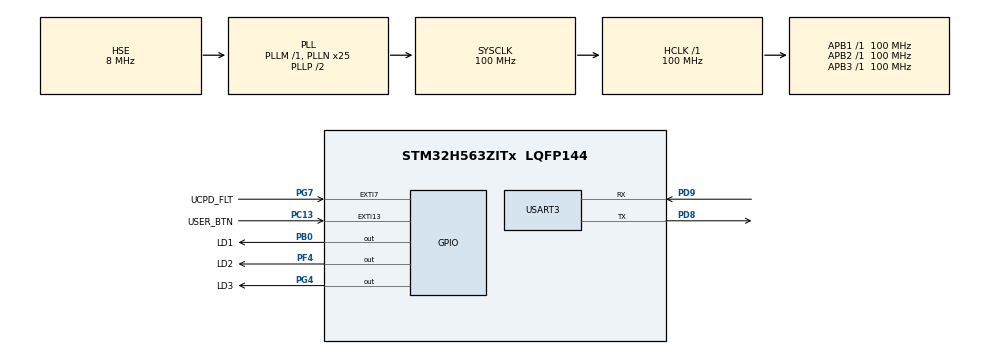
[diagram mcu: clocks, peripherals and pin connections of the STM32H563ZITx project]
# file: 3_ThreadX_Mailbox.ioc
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BOOTPATH.BootPathName=LEGACY
BOOTPATH.UserSelectedBootPath=LEGACY
CORTEX_M33_NS.userName=CORTEX_M33
DTS.Divider=100
DTS.SamplingTime=DTS_SMP_TIME_10_CYCLE
Mcu.Family=STM32H5
Mcu.Name=STM32H563ZITx
Mcu.Package=LQFP144
NVIC.EXTI13_IRQn=true\:0\:0\:false\:false\:true\:false\:true\:true\:true
NVIC.PriorityGroup=NVIC_PRIORITYGROUP_4
NVIC.TIM6_IRQn=true\:15\:0\:false\:false\:true\:false\:false\:true\:true
NVIC.TimeBase=TIM6_IRQn
NVIC.TimeBaseIP=TIM6
PA1.GPIO_Label=RMII_REF_CLK
PA1.GPIO_Mode=GPIO_MODE_AF_PP
PA1.GPIO_PuPd=GPIO_NOPULL
PA1.GPIO_Speed=GPIO_SPEED_FREQ_LOW
PA1.Signal=ETH_REF_CLK
PA11.GPIO_Label=USB_FS_N
PA11.Signal=USB_DM
PA12.GPIO_Label=USB_FS_P
PA12.Signal=USB_DP
PA13(JTMS/SWDIO).GPIO_Label=SWDIO
PA13(JTMS/SWDIO).Signal=DEBUG_JTMS-SWDIO
PA14(JTCK/SWCLK).GPIO_Label=SWCLK
PA14(JTCK/SWCLK).Signal=DEBUG_JTCK-SWCLK
PA15(JTDI).GPIO_Label=T_JTDI
PA15(JTDI).Signal=DEBUG_JTDI
PA2.GPIO_Label=RMII_MDIO
PA2.GPIO_Mode=GPIO_MODE_AF_PP
PA2.GPIO_PuPd=GPIO_NOPULL
PA2.GPIO_Speed=GPIO_SPEED_FREQ_LOW
PA2.Signal=ETH_MDIO
PA4.GPIO_Label=VBUS_SENSE
PA4.Signal=ADCx_INP18
PA7.GPIO_Label=RMII_CRS_DV
PA7.GPIO_Mode=GPIO_MODE_AF_PP
PA7.GPIO_PuPd=GPIO_NOPULL
PA7.GPIO_Speed=GPIO_SPEED_FREQ_LOW
PA7.Signal=ETH_CRS_DV
PA9.GPIO_Label=UCDP_DBn
PA9.Signal=UCPD1_DB1
PB0.GPIO_Label=LD1
PB0.Signal=GPIO_Output
PB13.GPIO_Label=UCPD_CC1
PB13.Signal=UCPD1_CC1
PB14.GPIO_Label=UCPD_CC2
PB14.Signal=UCPD1_CC2
PB15.GPIO_Label=RMII_TXD1
PB15.GPIO_Mode=GPIO_MODE_AF_PP
PB15.GPIO_PuPd=GPIO_NOPULL
PB15.GPIO_Speed=GPIO_SPEED_FREQ_LOW
PB15.Signal=ETH_TXD1
PB3(JTDO/TRACESWO).GPIO_Label=SWO
PB3(JTDO/TRACESWO).Signal=DEBUG_JTDO-SWO
PB6.GPIO_Label=ARD_D1_TX
PB6.Signal=LPUART1_TX
PB7.GPIO_Label=ARD_D0_RX
PB7.Signal=LPUART1_RX
PC1.GPIO_Label=RMII_MDC
PC1.GPIO_Mode=GPIO_MODE_AF_PP
PC1.GPIO_PuPd=GPIO_NOPULL
PC1.GPIO_Speed=GPIO_SPEED_FREQ_LOW
PC1.Signal=ETH_MDC
PC13.GPIO_Label=USER_BTN
PC13.Signal=GPXTI13
PC14-OSC32_IN(OSC32_IN).Mode=LSE-External-Oscillator
PC14-OSC32_IN(OSC32_IN).Signal=RCC_OSC32_IN
PC15-OSC32_OUT(OSC32_OUT).Mode=LSE-External-Oscillator
PC15-OSC32_OUT(OSC32_OUT).Signal=RCC_OSC32_OUT
PC4.GPIO_Label=RMII_RXD0
PC4.GPIO_Mode=GPIO_MODE_AF_PP
PC4.GPIO_PuPd=GPIO_NOPULL
PC4.GPIO_Speed=GPIO_SPEED_FREQ_LOW
PC4.Signal=ETH_RXD0
PC5.GPIO_Label=RMII_RXD1
PC5.GPIO_Mode=GPIO_MODE_AF_PP
PC5.GPIO_PuPd=GPIO_NOPULL
PC5.GPIO_Speed=GPIO_SPEED_FREQ_LOW
PC5.Signal=ETH_RXD1
PD8.Mode=Asynchronous
PD8.Signal=USART3_TX
PD9.Mode=Asynchronous
PD9.Signal=USART3_RX
PE2.GPIO_Label=TRACE_CK
PE2.Signal=DEBUG_TRACECLK
PE3.GPIO_Label=TRACE_D0
PE3.Signal=DEBUG_TRACED0
PE4.GPIO_Label=TRACE_D1
PE4.Signal=DEBUG_TRACED1
PE5.GPIO_Label=TRACE_D2
PE5.Signal=DEBUG_TRACED2
PE6.GPIO_Label=TRACE_D3
PE6.Signal=DEBUG_TRACED3
PF4.GPIO_Label=LD2
PF4.Signal=GPIO_Output
PG11.GPIO_Label=RMII_TXT_EN
PG11.GPIO_Mode=GPIO_MODE_AF_PP
PG11.GPIO_PuPd=GPIO_NOPULL
PG11.GPIO_Speed=GPIO_SPEED_FREQ_LOW
PG11.Signal=ETH_TX_EN
PG13.GPIO_Label=RMI_TXD0
PG13.GPIO_Mode=GPIO_MODE_AF_PP
PG13.GPIO_PuPd=GPIO_NOPULL
PG13.GPIO_Speed=GPIO_SPEED_FREQ_LOW
PG13.Signal=ETH_TXD0
PG4.GPIO_Label=LD3
PG4.Signal=GPIO_Output
PG7.GPIO_Label=UCPD_FLT
PG7.Signal=GPXTI7
PH0-OSC_IN(PH0).GPIO_Label=STLK_MCO
PH0-OSC_IN(PH0).Mode=HSE-External-Clock-Source
PH0-OSC_IN(PH0).Signal=RCC_OSC_IN
ProjectManager.HeapSize=0x200
ProjectManager.StackSize=0x400
ProjectManager.TargetToolchain=STM32CubeIDE
RCC.ADCCLockSelection=RCC_ADCDACCLKSOURCE_HSI
RCC.ADCFreq_Value=32000000
RCC.AHBFreq_Value=100000000
RCC.APB1Freq_Value=100000000
RCC.APB1TimFreq_Value=100000000
RCC.APB2Freq_Value=100000000
RCC.APB2TimFreq_Value=100000000
RCC.APB3Freq_Value=100000000
RCC.CSI_VALUE=4000000
RCC.CortexFreq_Value=100000000
RCC.EPOD_VALUE=8000000
RCC.HCLKFreq_Value=100000000
RCC.HSE_VALUE=8000000
RCC.HSI48_VALUE=48000000
RCC.HSI_VALUE=64000000
RCC.LSIRC_VALUE=32000
RCC.PLLFRACN=0
RCC.PLLN=25
RCC.PLLSourceVirtual=RCC_PLL1_SOURCE_HSE
RCC.SYSCLKFreq_VALUE=100000000
RCC.SYSCLKSource=RCC_SYSCLKSOURCE_PLLCLK
RCC.USBFreq_Value=48000000
RCC.VCOOutputFreq_Value=200000000
SH.ADCx_INP18.0=ADC1_INP18
USART3.VirtualMode=VM_ASYNC
VP_BOOTPATH_VS_BOOTPATH.Mode=BP_Activate
VP_CORTEX_M33_NS_VS_Hclk.Mode=Hclk_Mode
VP_DTS_VS-DTS.Mode=DTS
VP_ICACHE_VS_ICACHE.Mode=DirectMappedCache
VP_MEMORYMAP_VS_MEMORYMAP.Mode=CurAppReg
VP_PWR_VS_DBSignals.Mode=DisableDeadBatterySignals
VP_PWR_VS_LPOM.Mode=PowerOptimisation
VP_PWR_VS_SECSignals.Mode=Security/Privilege
VP_SYS_VS_tim6.Mode=TIM6
VP_THREADX_VS_RTOSJjThreadXJjCoreJjDefault.Mode=Core_Default
board=NUCLEO-H563ZI

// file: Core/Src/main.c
/* USER CODE BEGIN Header */
/**
  ******************************************************************************
  * @file           : main.c
  * @brief          : Main program body
  ******************************************************************************
  * @attention
  *
  * Copyright (c) 2024 STMicroelectronics.
  * All rights reserved.
  *
  * This software is licensed under terms that can be found in the LICENSE file
  * in the root directory of this software component.
  * If no LICENSE file comes with this software, it is provided AS-IS.
  *
  ******************************************************************************
  */
/* USER CODE END Header */
#include "app_threadx.h"
#include "main.h"

/* USER CODE BEGIN Includes */
#include "stdio.h"

/* USER CODE END Includes */

DTS_HandleTypeDef hdts;

UART_HandleTypeDef huart3;

/* USER CODE BEGIN PV */
extern TX_SEMAPHORE semaphore_0;

/* USER CODE END PV */

void SystemClock_Config(void);
static void MX_GPIO_Init(void);
static void MX_ICACHE_Init(void);
static void MX_USART3_UART_Init(void);
static void MX_DTS_Init(void);

/* USER CODE BEGIN 0 */

/* Code for enabling printf -------------------------------------------------*/
#define USE_UART_PRINT
void __io_putchar(char ch) {
#ifdef USE_UART_PRINT
	HAL_UART_Transmit(&huart3, (uint8_t*) &ch, 1, 10);
#else
	ITM_SendChar(ch);
#endif
}
/* USER CODE END 0 */

int main(void)
{

  /* MCU Configuration--------------------------------------------------------*/

  /* Reset of all peripherals, Initializes the Flash interface and the Systick. */
  HAL_Init();

  /* Configure the system clock */
  SystemClock_Config();

  /* Initialize all configured peripherals */
  MX_GPIO_Init();
  MX_ICACHE_Init();
  MX_USART3_UART_Init();
  MX_DTS_Init();
  /* USER CODE BEGIN 2 */

  //Clear TerraTerm Terminal
  printf("\033[2J");
  fflush(stdout);

  printf("\r\nWaiting for USER_BTN to be pressed to set Semaphore\n\r");
  /* USER CODE END 2 */

  MX_ThreadX_Init();

  /* We should never get here as control is now taken by the scheduler */

  /* Infinite loop */
  while (1)
  {

  }
}

void SystemClock_Config(void)
{
  RCC_OscInitTypeDef RCC_OscInitStruct = {0};
  RCC_ClkInitTypeDef RCC_ClkInitStruct = {0};

  /** Configure the main internal regulator output voltage
  */
  __HAL_PWR_VOLTAGESCALING_CONFIG(PWR_REGULATOR_VOLTAGE_SCALE3);

  while(!__HAL_PWR_GET_FLAG(PWR_FLAG_VOSRDY)) {}

  /** Initializes the RCC Oscillators according to the specified parameters
  * in the RCC_OscInitTypeDef structure.
  */
  RCC_OscInitStruct.OscillatorType = RCC_OSCILLATORTYPE_HSE;
  RCC_OscInitStruct.HSEState = RCC_HSE_BYPASS;
  RCC_OscInitStruct.PLL.PLLState = RCC_PLL_ON;
  RCC_OscInitStruct.PLL.PLLSource = RCC_PLL1_SOURCE_HSE;
  RCC_OscInitStruct.PLL.PLLM = 1;
  RCC_OscInitStruct.PLL.PLLN = 25;
  RCC_OscInitStruct.PLL.PLLP = 2;
  RCC_OscInitStruct.PLL.PLLQ = 2;
  RCC_OscInitStruct.PLL.PLLR = 2;
  RCC_OscInitStruct.PLL.PLLRGE = RCC_PLL1_VCIRANGE_3;
  RCC_OscInitStruct.PLL.PLLVCOSEL = RCC_PLL1_VCORANGE_WIDE;
  RCC_OscInitStruct.PLL.PLLFRACN = 0;
  if (HAL_RCC_OscConfig(&RCC_OscInitStruct) != HAL_OK)
  {
    Error_Handler();
  }

  /** Initializes the CPU, AHB and APB buses clocks
  */
  RCC_ClkInitStruct.ClockType = RCC_CLOCKTYPE_HCLK|RCC_CLOCKTYPE_SYSCLK
                              |RCC_CLOCKTYPE_PCLK1|RCC_CLOCKTYPE_PCLK2
                              |RCC_CLOCKTYPE_PCLK3;
  RCC_ClkInitStruct.SYSCLKSource = RCC_SYSCLKSOURCE_PLLCLK;
  RCC_ClkInitStruct.AHBCLKDivider = RCC_SYSCLK_DIV1;
  RCC_ClkInitStruct.APB1CLKDivider = RCC_HCLK_DIV1;
  RCC_ClkInitStruct.APB2CLKDivider = RCC_HCLK_DIV1;
  RCC_ClkInitStruct.APB3CLKDivider = RCC_HCLK_DIV1;

  if (HAL_RCC_ClockConfig(&RCC_ClkInitStruct, FLASH_LATENCY_4) != HAL_OK)
  {
    Error_Handler();
  }
}

static void MX_DTS_Init(void)
{

  hdts.Instance = DTS;
  hdts.Init.QuickMeasure = DTS_QUICKMEAS_DISABLE;
  hdts.Init.RefClock = DTS_REFCLKSEL_PCLK;
  hdts.Init.TriggerInput = DTS_TRIGGER_HW_NONE;
  hdts.Init.SamplingTime = DTS_SMP_TIME_10_CYCLE;
  hdts.Init.Divider = 100;
  hdts.Init.HighThreshold = 0x0;
  hdts.Init.LowThreshold = 0x0;
  if (HAL_DTS_Init(&hdts) != HAL_OK)
  {
    Error_Handler();
  }

}

static void MX_ICACHE_Init(void)
{

  /** Enable instruction cache in 1-way (direct mapped cache)
  */
  if (HAL_ICACHE_ConfigAssociativityMode(ICACHE_1WAY) != HAL_OK)
  {
    Error_Handler();
  }
  if (HAL_ICACHE_Enable() != HAL_OK)
  {
    Error_Handler();
  }

}

static void MX_USART3_UART_Init(void)
{

  huart3.Instance = USART3;
  huart3.Init.BaudRate = 115200;
  huart3.Init.WordLength = UART_WORDLENGTH_8B;
  huart3.Init.StopBits = UART_STOPBITS_1;
  huart3.Init.Parity = UART_PARITY_NONE;
  huart3.Init.Mode = UART_MODE_TX_RX;
  huart3.Init.HwFlowCtl = UART_HWCONTROL_NONE;
  huart3.Init.OverSampling = UART_OVERSAMPLING_16;
  huart3.Init.OneBitSampling = UART_ONE_BIT_SAMPLE_DISABLE;
  huart3.Init.ClockPrescaler = UART_PRESCALER_DIV1;
  huart3.AdvancedInit.AdvFeatureInit = UART_ADVFEATURE_NO_INIT;
  if (HAL_UART_Init(&huart3) != HAL_OK)
  {
    Error_Handler();
  }
  if (HAL_UARTEx_SetTxFifoThreshold(&huart3, UART_TXFIFO_THRESHOLD_1_8) != HAL_OK)
  {
    Error_Handler();
  }
  if (HAL_UARTEx_SetRxFifoThreshold(&huart3, UART_RXFIFO_THRESHOLD_1_8) != HAL_OK)
  {
    Error_Handler();
  }
  if (HAL_UARTEx_DisableFifoMode(&huart3) != HAL_OK)
  {
    Error_Handler();
  }

}

static void MX_GPIO_Init(void)
{
  GPIO_InitTypeDef GPIO_InitStruct = {0};

  /* GPIO Ports Clock Enable */
  __HAL_RCC_GPIOE_CLK_ENABLE();
  __HAL_RCC_GPIOC_CLK_ENABLE();
  __HAL_RCC_GPIOF_CLK_ENABLE();
  __HAL_RCC_GPIOH_CLK_ENABLE();
  __HAL_RCC_GPIOA_CLK_ENABLE();
  __HAL_RCC_GPIOB_CLK_ENABLE();
  __HAL_RCC_GPIOD_CLK_ENABLE();
  __HAL_RCC_GPIOG_CLK_ENABLE();

  /*Configure GPIO pin Output Level */
  HAL_GPIO_WritePin(LD2_GPIO_Port, LD2_Pin, GPIO_PIN_RESET);

  /*Configure GPIO pin Output Level */
  HAL_GPIO_WritePin(LD1_GPIO_Port, LD1_Pin, GPIO_PIN_RESET);

  /*Configure GPIO pin Output Level */
  HAL_GPIO_WritePin(LD3_GPIO_Port, LD3_Pin, GPIO_PIN_RESET);

  /*Configure GPIO pin : USER_BTN_Pin */
  GPIO_InitStruct.Pin = USER_BTN_Pin;
  GPIO_InitStruct.Mode = GPIO_MODE_IT_RISING;
  GPIO_InitStruct.Pull = GPIO_NOPULL;
  HAL_GPIO_Init(USER_BTN_GPIO_Port, &GPIO_InitStruct);

  /*Configure GPIO pin : LD2_Pin */
  GPIO_InitStruct.Pin = LD2_Pin;
  GPIO_InitStruct.Mode = GPIO_MODE_OUTPUT_PP;
  GPIO_InitStruct.Pull = GPIO_NOPULL;
  GPIO_InitStruct.Speed = GPIO_SPEED_FREQ_LOW;
  HAL_GPIO_Init(LD2_GPIO_Port, &GPIO_InitStruct);

  /*Configure GPIO pins : RMII_MDC_Pin RMII_RXD0_Pin RMII_RXD1_Pin */
  GPIO_InitStruct.Pin = RMII_MDC_Pin|RMII_RXD0_Pin|RMII_RXD1_Pin;
  GPIO_InitStruct.Mode = GPIO_MODE_AF_PP;
  GPIO_InitStruct.Pull = GPIO_NOPULL;
  GPIO_InitStruct.Speed = GPIO_SPEED_FREQ_HIGH;
  GPIO_InitStruct.Alternate = GPIO_AF11_ETH;
  HAL_GPIO_Init(GPIOC, &GPIO_InitStruct);

  /*Configure GPIO pins : RMII_REF_CLK_Pin RMII_MDIO_Pin RMII_CRS_DV_Pin */
  GPIO_InitStruct.Pin = RMII_REF_CLK_Pin|RMII_MDIO_Pin|RMII_CRS_DV_Pin;
  GPIO_InitStruct.Mode = GPIO_MODE_AF_PP;
  GPIO_InitStruct.Pull = GPIO_NOPULL;
  GPIO_InitStruct.Speed = GPIO_SPEED_FREQ_HIGH;
  GPIO_InitStruct.Alternate = GPIO_AF11_ETH;
  HAL_GPIO_Init(GPIOA, &GPIO_InitStruct);

  /*Configure GPIO pin : VBUS_SENSE_Pin */
  GPIO_InitStruct.Pin = VBUS_SENSE_Pin;
  GPIO_InitStruct.Mode = GPIO_MODE_ANALOG;
  GPIO_InitStruct.Pull = GPIO_NOPULL;
  HAL_GPIO_Init(VBUS_SENSE_GPIO_Port, &GPIO_InitStruct);

  /*Configure GPIO pin : LD1_Pin */
  GPIO_InitStruct.Pin = LD1_Pin;
  GPIO_InitStruct.Mode = GPIO_MODE_OUTPUT_PP;
  GPIO_InitStruct.Pull = GPIO_NOPULL;
  GPIO_InitStruct.Speed = GPIO_SPEED_FREQ_LOW;
  HAL_GPIO_Init(LD1_GPIO_Port, &GPIO_InitStruct);

  /*Configure GPIO pins : UCPD_CC1_Pin UCPD_CC2_Pin */
  GPIO_InitStruct.Pin = UCPD_CC1_Pin|UCPD_CC2_Pin;
  GPIO_InitStruct.Mode = GPIO_MODE_ANALOG;
  GPIO_InitStruct.Pull = GPIO_NOPULL;
  HAL_GPIO_Init(GPIOB, &GPIO_InitStruct);

  /*Configure GPIO pin : RMII_TXD1_Pin */
  GPIO_InitStruct.Pin = RMII_TXD1_Pin;
  GPIO_InitStruct.Mode = GPIO_MODE_AF_PP;
  GPIO_InitStruct.Pull = GPIO_NOPULL;
  GPIO_InitStruct.Speed = GPIO_SPEED_FREQ_HIGH;
  GPIO_InitStruct.Alternate = GPIO_AF11_ETH;
  HAL_GPIO_Init(RMII_TXD1_GPIO_Port, &GPIO_InitStruct);

  /*Configure GPIO pin : LD3_Pin */
  GPIO_InitStruct.Pin = LD3_Pin;
  GPIO_InitStruct.Mode = GPIO_MODE_OUTPUT_PP;
  GPIO_InitStruct.Pull = GPIO_NOPULL;
  GPIO_InitStruct.Speed = GPIO_SPEED_FREQ_LOW;
  HAL_GPIO_Init(LD3_GPIO_Port, &GPIO_InitStruct);

  /*Configure GPIO pin : UCPD_FLT_Pin */
  GPIO_InitStruct.Pin = UCPD_FLT_Pin;
  GPIO_InitStruct.Mode = GPIO_MODE_IT_RISING;
  GPIO_InitStruct.Pull = GPIO_NOPULL;
  HAL_GPIO_Init(UCPD_FLT_GPIO_Port, &GPIO_InitStruct);

  /*Configure GPIO pins : USB_FS_N_Pin USB_FS_P_Pin */
  GPIO_InitStruct.Pin = USB_FS_N_Pin|USB_FS_P_Pin;
  GPIO_InitStruct.Mode = GPIO_MODE_AF_PP;
  GPIO_InitStruct.Pull = GPIO_NOPULL;
  GPIO_InitStruct.Speed = GPIO_SPEED_FREQ_LOW;
  GPIO_InitStruct.Alternate = GPIO_AF10_USB;
  HAL_GPIO_Init(GPIOA, &GPIO_InitStruct);

  /*Configure GPIO pins : RMII_TXT_EN_Pin RMI_TXD0_Pin */
  GPIO_InitStruct.Pin = RMII_TXT_EN_Pin|RMI_TXD0_Pin;
  GPIO_InitStruct.Mode = GPIO_MODE_AF_PP;
  GPIO_InitStruct.Pull = GPIO_NOPULL;
  GPIO_InitStruct.Speed = GPIO_SPEED_FREQ_HIGH;
  GPIO_InitStruct.Alternate = GPIO_AF11_ETH;
  HAL_GPIO_Init(GPIOG, &GPIO_InitStruct);

  /*Configure GPIO pins : ARD_D1_TX_Pin ARD_D0_RX_Pin */
  GPIO_InitStruct.Pin = ARD_D1_TX_Pin|ARD_D0_RX_Pin;
  GPIO_InitStruct.Mode = GPIO_MODE_AF_PP;
  GPIO_InitStruct.Pull = GPIO_NOPULL;
  GPIO_InitStruct.Speed = GPIO_SPEED_FREQ_LOW;
  GPIO_InitStruct.Alternate = GPIO_AF8_LPUART1;
  HAL_GPIO_Init(GPIOB, &GPIO_InitStruct);

  /* EXTI interrupt init*/
  HAL_NVIC_SetPriority(EXTI13_IRQn, 0, 0);
  HAL_NVIC_EnableIRQ(EXTI13_IRQn);

}

/* USER CODE BEGIN 4 */
void HAL_GPIO_EXTI_Rising_Callback(uint16_t GPIO_Pin){
	if(GPIO_Pin == USER_BTN_Pin){
		HAL_GPIO_WritePin(LD3_GPIO_Port, LD3_Pin, GPIO_PIN_SET);
		tx_semaphore_put(&semaphore_0);
	}
}

/* USER CODE END 4 */

void HAL_TIM_PeriodElapsedCallback(TIM_HandleTypeDef *htim)
{
  if (htim->Instance == TIM6) {
    HAL_IncTick();
  }
}

void Error_Handler(void)
{
  __disable_irq();
  while (1)
  {
  }
}
